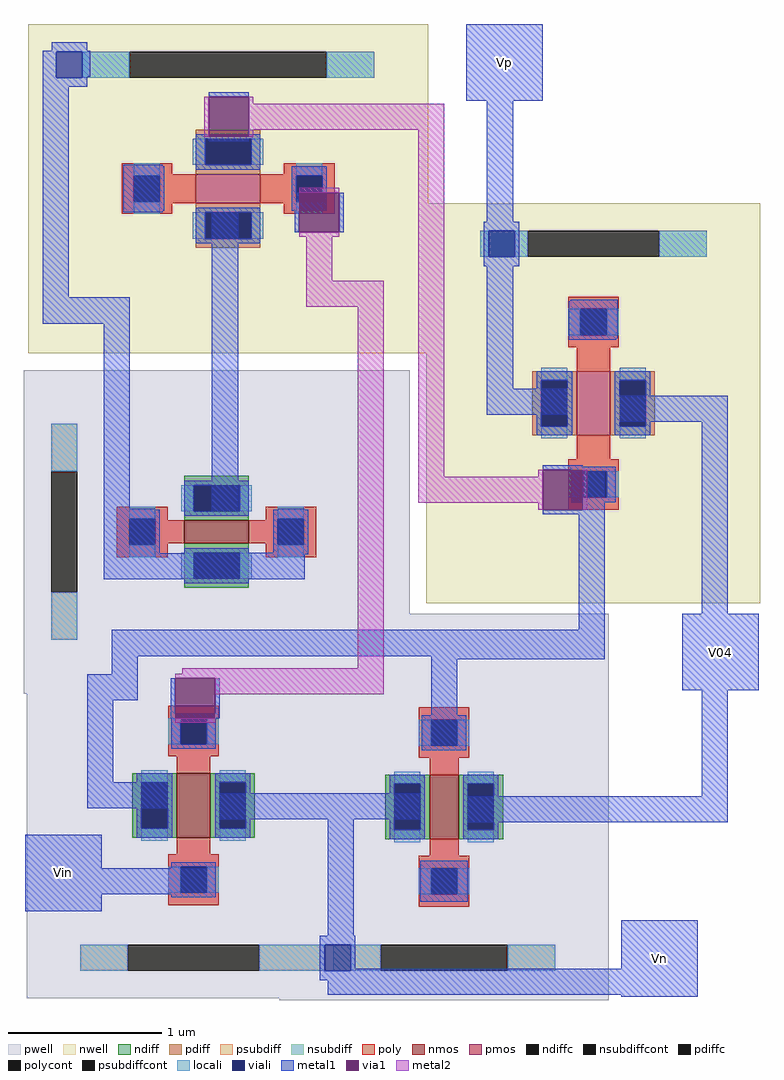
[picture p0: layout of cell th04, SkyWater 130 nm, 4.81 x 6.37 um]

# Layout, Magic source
magic
tech sky130A
magscale 1 2
<< psubdiff >>
rect 710 -1088 807 -1054
<< locali >>
rect 451 78 493 112
rect 707 -1088 767 -1054
rect 801 -1088 825 -1054
<< viali >>
rect 417 78 451 112
rect 981 -156 1015 -122
rect 767 -1088 801 -1054
<< metal1 >>
rect 411 113 457 124
rect 399 112 461 113
rect 399 78 417 112
rect 451 79 461 112
rect 451 78 457 79
rect 399 66 457 78
rect 399 -209 433 66
rect 616 53 668 59
rect 952 48 1052 148
rect 616 -5 668 1
rect 504 -98 556 -36
rect 399 -243 513 -209
rect 479 -485 513 -243
rect 479 -543 545 -485
rect 620 -488 654 -97
rect 728 -124 734 -72
rect 786 -124 792 -72
rect 979 -110 1013 48
rect 975 -122 1021 -110
rect 975 -156 981 -122
rect 1015 -156 1021 -122
rect 975 -168 1021 -156
rect 979 -328 1013 -168
rect 1088 -214 1150 -212
rect 1086 -262 1150 -214
rect 1086 -264 1148 -262
rect 979 -362 1084 -328
rect 1151 -371 1293 -337
rect 1052 -434 1104 -428
rect 707 -542 741 -485
rect 1104 -486 1133 -435
rect 1052 -492 1133 -486
rect 650 -543 741 -542
rect 479 -577 741 -543
rect 1099 -643 1133 -492
rect 1259 -622 1293 -371
rect 489 -677 1133 -643
rect 489 -701 523 -677
rect 457 -735 523 -701
rect 906 -681 1133 -677
rect 457 -842 491 -735
rect 566 -758 572 -706
rect 624 -758 630 -706
rect 906 -795 940 -681
rect 1234 -722 1334 -622
rect 457 -876 562 -842
rect 631 -890 894 -856
rect 1259 -860 1293 -722
rect 376 -954 476 -910
rect 376 -988 615 -954
rect 376 -1010 476 -988
rect 771 -1042 805 -890
rect 954 -894 1293 -860
rect 892 -998 954 -944
rect 761 -1054 807 -1042
rect 761 -1088 767 -1054
rect 801 -1085 807 -1054
rect 1154 -1085 1254 -1022
rect 801 -1088 1254 -1085
rect 761 -1100 1254 -1088
rect 771 -1119 1254 -1100
rect 1154 -1122 1254 -1119
<< via1 >>
rect 616 1 668 53
rect 734 -124 786 -72
rect 1052 -486 1104 -434
rect 572 -758 624 -706
<< metal2 >>
rect 610 1 616 53
rect 668 44 674 53
rect 668 10 923 44
rect 668 1 674 10
rect 734 -72 786 -66
rect 734 -130 786 -124
rect 743 -187 777 -130
rect 743 -221 844 -187
rect 810 -693 844 -221
rect 889 -443 923 10
rect 1046 -443 1052 -434
rect 889 -477 1052 -443
rect 1046 -486 1052 -477
rect 1104 -486 1110 -434
rect 581 -700 844 -693
rect 572 -706 844 -700
rect 624 -727 844 -706
rect 572 -764 624 -758
use sky130_fd_pr__nfet_01v8_42G4RD  XM0
transform 1 0 596 0 1 -872
box -218 -252 218 252
use sky130_fd_pr__pfet_01v8_DDPLQ8  XM1
transform 0 -1 641 1 0 -67
box -215 -261 215 261
use sky130_fd_pr__nfet_01v8_VWP3K3  XM2
transform 0 -1 626 1 0 -515
box -211 -252 211 252
use sky130_fd_pr__pfet_01v8_LZD9A4  XM3
transform 1 0 1118 0 1 -347
box -218 -261 218 261
use sky130_fd_pr__nfet_01v8_VRD6K3  XM4
transform 1 0 923 0 1 -874
box -215 -252 215 252
<< labels >>
flabel metal1 1154 -1122 1254 -1022 0 FreeSans 256 0 0 0 Vn
port 3 nsew
flabel metal1 1234 -722 1334 -622 0 FreeSans 256 0 0 0 V04
port 1 nsew
flabel metal1 952 48 1052 148 0 FreeSans 256 0 0 0 Vp
port 0 nsew
flabel metal1 376 -1010 476 -910 0 FreeSans 256 0 0 0 Vin
port 2 nsew
<< end >>

# cell sky130_fd_pr__nfet_01v8_42G4RD: kit device sky130_fd_pr__nfet_01v8, w 0.42 l 0.22 m 1 nf 1 diffcov 100 polycov 100 guard 1 glc 1 grc 1 gtc 1 gbc 1 tbcov 100 rlcov 100 topc 1 botc 1 poverlap 0 doverlap 1 lmin 0.15 wmin 0.42 compatible {sky130_fd_pr__nfet_01v8 sky130_fd_pr__nfet_01v8_lvt sky130_fd_bs_flash__special_sonosfet_star sky130_fd_pr__nfet_g5v0d10v5 sky130_fd_pr__nfet_05v0_nvt sky130_fd_pr__nfet_03v3_nvt} full_metal 1 viasrc 100 viadrn 100 viagate 100 viagb 0 viagr 0 viagl 0 viagt 0

# cell sky130_fd_pr__pfet_01v8_DDPLQ8: kit device sky130_fd_pr__pfet_01v8, w 0.42 l 0.193 m 1 nf 1 diffcov 100 polycov 100 guard 1 glc 1 grc 1 gtc 1 gbc 1 tbcov 100 rlcov 100 topc 1 botc 1 poverlap 0 doverlap 1 lmin 0.15 wmin 0.42 compatible {sky130_fd_pr__pfet_01v8 sky130_fd_pr__pfet_01v8_lvt sky130_fd_pr__pfet_01v8_hvt sky130_fd_pr__pfet_g5v0d10v5} full_metal 1 viasrc 100 viadrn 100 viagate 100 viagb 0 viagr 0 viagl 0 viagt 0

# cell sky130_fd_pr__nfet_01v8_VWP3K3: kit device sky130_fd_pr__nfet_01v8, w 0.42 l 0.151 m 1 nf 1 diffcov 100 polycov 100 guard 1 glc 1 grc 1 gtc 1 gbc 1 tbcov 100 rlcov 100 topc 1 botc 1 poverlap 0 doverlap 1 lmin 0.15 wmin 0.42 compatible {sky130_fd_pr__nfet_01v8 sky130_fd_pr__nfet_01v8_lvt sky130_fd_bs_flash__special_sonosfet_star sky130_fd_pr__nfet_g5v0d10v5 sky130_fd_pr__nfet_05v0_nvt sky130_fd_pr__nfet_03v3_nvt} full_metal 1 viasrc 100 viadrn 100 viagate 100 viagb 0 viagr 0 viagl 0 viagt 0

# cell sky130_fd_pr__pfet_01v8_LZD9A4: kit device sky130_fd_pr__pfet_01v8, w 0.42 l 0.22 m 1 nf 1 diffcov 100 polycov 100 guard 1 glc 1 grc 1 gtc 1 gbc 1 tbcov 100 rlcov 100 topc 1 botc 1 poverlap 0 doverlap 1 lmin 0.15 wmin 0.42 compatible {sky130_fd_pr__pfet_01v8 sky130_fd_pr__pfet_01v8_lvt sky130_fd_pr__pfet_01v8_hvt sky130_fd_pr__pfet_g5v0d10v5} full_metal 1 viasrc 100 viadrn 100 viagate 100 viagb 0 viagr 0 viagl 0 viagt 0

# cell sky130_fd_pr__nfet_01v8_VRD6K3: kit device sky130_fd_pr__nfet_01v8, w 0.42 l 0.193 m 1 nf 1 diffcov 100 polycov 100 guard 1 glc 1 grc 1 gtc 1 gbc 1 tbcov 100 rlcov 100 topc 1 botc 1 poverlap 0 doverlap 1 lmin 0.15 wmin 0.42 compatible {sky130_fd_pr__nfet_01v8 sky130_fd_pr__nfet_01v8_lvt sky130_fd_bs_flash__special_sonosfet_star sky130_fd_pr__nfet_g5v0d10v5 sky130_fd_pr__nfet_05v0_nvt sky130_fd_pr__nfet_03v3_nvt} full_metal 1 viasrc 100 viadrn 100 viagate 100 viagb 0 viagr 0 viagl 0 viagt 0
